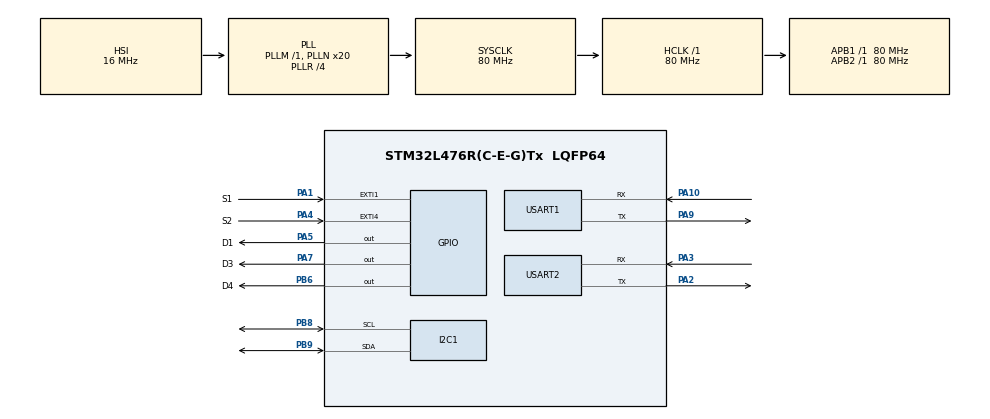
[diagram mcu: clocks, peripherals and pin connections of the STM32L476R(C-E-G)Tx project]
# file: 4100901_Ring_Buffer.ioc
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I2C1.Timing=0x10D19CE4
Mcu.Family=STM32L4
Mcu.Name=STM32L476R(C-E-G)Tx
Mcu.Package=LQFP64
NVIC.EXTI1_IRQn=true\:0\:0\:false\:false\:true\:true\:true\:true
NVIC.EXTI4_IRQn=true\:0\:0\:false\:false\:true\:true\:true\:true
NVIC.FLASH_IRQn=true\:0\:0\:false\:false\:true\:true\:true\:true
NVIC.FPU_IRQn=true\:0\:0\:false\:false\:true\:true\:false\:true
NVIC.PriorityGroup=NVIC_PRIORITYGROUP_4
NVIC.RCC_IRQn=true\:0\:0\:false\:false\:true\:true\:false\:true
NVIC.USART1_IRQn=true\:0\:0\:false\:false\:true\:true\:true\:true
NVIC.USART2_IRQn=true\:0\:0\:false\:false\:true\:true\:true\:true
PA1.GPIO_Label=S1
PA1.Signal=GPXTI1
PA10.Mode=Asynchronous
PA10.Signal=USART1_RX
PA2.Mode=Asynchronous
PA2.Signal=USART2_TX
PA3.Mode=Asynchronous
PA3.Signal=USART2_RX
PA4.GPIO_Label=S2
PA4.Signal=GPXTI4
PA5.GPIO_Label=D1
PA5.PinState=GPIO_PIN_SET
PA5.Signal=GPIO_Output
PA7.GPIO_Label=D3
PA7.PinState=GPIO_PIN_SET
PA7.Signal=GPIO_Output
PA9.Mode=Asynchronous
PA9.Signal=USART1_TX
PB6.GPIO_Label=D4
PB6.PinState=GPIO_PIN_SET
PB6.Signal=GPIO_Output
PB8.Mode=I2C
PB8.Signal=I2C1_SCL
PB9.Mode=I2C
PB9.Signal=I2C1_SDA
ProjectManager.HeapSize=0x200
ProjectManager.StackSize=0x400
ProjectManager.TargetToolchain=STM32CubeIDE
RCC.ADCFreq_Value=64000000
RCC.AHBFreq_Value=80000000
RCC.APB1Freq_Value=80000000
RCC.APB1TimFreq_Value=80000000
RCC.APB2Freq_Value=80000000
RCC.APB2TimFreq_Value=80000000
RCC.CortexFreq_Value=80000000
RCC.HCLKFreq_Value=80000000
RCC.HSE_VALUE=8000000
RCC.HSI_VALUE=16000000
RCC.LSE_VALUE=32768
RCC.MSI_VALUE=4000000
RCC.PLLN=20
RCC.PLLR=RCC_PLLR_DIV4
RCC.PLLSourceVirtual=RCC_PLLSOURCE_HSI
RCC.SYSCLKFreq_VALUE=80000000
RCC.SYSCLKSource=RCC_SYSCLKSOURCE_PLLCLK
RCC.USBFreq_Value=64000000
RCC.VCOOutputFreq_Value=320000000
USART1.VirtualMode-Asynchronous=VM_ASYNC
USART2.VirtualMode-Asynchronous=VM_ASYNC
board=custom

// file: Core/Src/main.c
/* USER CODE BEGIN Header */
/**
  ******************************************************************************
  * @file           : main.c
  * @brief          : Main program body
  ******************************************************************************
  * @attention
  *
  * Copyright (c) 2024 STMicroelectronics.
  * All rights reserved.
  *
  * This software is licensed under terms that can be found in the LICENSE file
  * in the root directory of this software component.
  * If no LICENSE file comes with this software, it is provided AS-IS.
  *
  ******************************************************************************
  */
/* USER CODE END Header */
#include "main.h"

/* USER CODE BEGIN Includes */
#include "ring_buffer.h"

#include "ssd1306.h"
#include "ssd1306_fonts.h"

/* USER CODE END Includes */

I2C_HandleTypeDef hi2c1;

UART_HandleTypeDef huart1;
UART_HandleTypeDef huart2;

/* USER CODE BEGIN PV */
uint8_t data_1;
uint8_t data_2;

ring_buffer_t rb_usart1;
ring_buffer_t rb_usart2;

uint8_t mem_usart1[10];
uint8_t mem_usart2[10];

/* USER CODE END PV */

void SystemClock_Config(void);
static void MX_GPIO_Init(void);
static void MX_USART2_UART_Init(void);
static void MX_USART1_UART_Init(void);
static void MX_I2C1_Init(void);

/* USER CODE BEGIN 0 */
void HAL_UART_RxCpltCallback(UART_HandleTypeDef *huart){
	if (huart -> Instance == USART1) {
		//HAL_UART_Transmit(&huart2, data, 1, 10);
		ring_buffer_write(&rb_usart1, data_1);
		HAL_UART_Receive_IT(&huart1, &data_1, 1);
	}

	if (huart -> Instance == USART2) {
			//HAL_UART_Transmit(&huart2, data, 1, 10);
			ring_buffer_write(&rb_usart2, data_2);
			HAL_UART_Receive_IT(&huart2, &data_2, 1);
		}

}

// CLASE 12/08/2024
void HAL_GPIO_EXTI_Callback(uint16_t GPIO_Pin) {

}

/* USER CODE END 0 */

int main(void)
{

  /* MCU Configuration--------------------------------------------------------*/

  /* Reset of all peripherals, Initializes the Flash interface and the Systick. */
  HAL_Init();

  /* Configure the system clock */
  SystemClock_Config();

  /* Initialize all configured peripherals */
  MX_GPIO_Init();
  MX_USART2_UART_Init();
  MX_USART1_UART_Init();
  MX_I2C1_Init();
  /* USER CODE BEGIN 2 */

 /* ssd1306_Init();
  ssd1306_Fill(Black);
  ssd1306_SetCursor(10, 20);
  ssd1306_WriteString("", Font_6x8, White);
  ssd1306_UpdateScreen();*/

  /* USER CODE END 2 */

  /* Infinite loop */
  /* USER CODE BEGIN WHILE */
  ring_buffer_init(&rb_usart2, mem_usart2, 10);
  ring_buffer_init(&rb_usart1, mem_usart1, 10);

  /*HAL_UART_Receive_IT(&huart, pData, Size)*/
  HAL_UART_Receive_IT(&huart1, &data_1, 1);
  HAL_UART_Receive_IT(&huart2, &data_2, 1);

  while (1)
  {
	  /*if (is_full != 0) {
		  HAL_Delay(200);
		  HAL_UART_Transmit(&huart2, 'Full\r\n', 6, 10);
	  }

		  HAL_UART_Transmit(&huart2, &byte, 1, 10);

		  //uint8_t size = head_ptr - tail_ptr;
		  //size = size + '0'; // convert to ascii
		  //HAL_UART_Transmit(&huart2, &size, 1, 10);
		  //HAL_UART_Transmit(&huart2, "\r\n", 2, 10);
	  }*/

	  if(ring_buffer_size(&rb_usart2) != 0){
		  uint8_t size = ring_buffer_size(&rb_usart2);
		  size = size+0x30;

		  if(ring_buffer_is_full(&rb_usart2)){
			  uint8_t byte = 0;

			  uint8_t data_2[10];
			  for (uint8_t i = 0; i <= 10; i++){
				  ring_buffer_read(&rb_usart2, &byte);
				  data_2[i] = byte;
				  //HAL_UART_Transmit(&huart2, &byte, 1, 10);
			  };
			  //HAL_UART_Transmit(&huart2, &size, 1, 10);

			  if(right_buffer_ID(data_2)){
					HAL_UART_Transmit(&huart1, "Isabel A.M.", 11, 10);
					ssd1306_WriteString("Maria Isabel A. Medina", Font_6x8, White);
					ssd1306_UpdateScreen();
			  }else {
					HAL_UART_Transmit(&huart1, "ERROR!!", 7, 10);
					ssd1306_WriteString("ERROR!!", Font_6x8, White);
					ssd1306_UpdateScreen();
			  }
		  }
	  }
	  //ring_buffer_reset(rb_usart2);

	  if(ring_buffer_size(&rb_usart1) != 0){
		  uint8_t size = ring_buffer_size(&rb_usart1);
		  size = size+0x30;

		  if(ring_buffer_is_full(&rb_usart1)){
			  uint8_t byte = 0;

			  uint8_t data_1[10];
			  for (uint8_t i = 0; i <= 10; i++){
				  ring_buffer_read(&rb_usart1, &byte);
				  data_1[i] = byte;
			  };

			  if(right_buffer_ID(data_1)){
					HAL_UART_Transmit(&huart2, "Isabel", 11, 10);
			  }else {
					HAL_UART_Transmit(&huart2, "ERROR!!", 7, 10);
			  }
		  }
	  }

    /* USER CODE END WHILE */

  }
}

void SystemClock_Config(void)
{
  RCC_OscInitTypeDef RCC_OscInitStruct = {0};
  RCC_ClkInitTypeDef RCC_ClkInitStruct = {0};

  /** Configure the main internal regulator output voltage
  */
  if (HAL_PWREx_ControlVoltageScaling(PWR_REGULATOR_VOLTAGE_SCALE1) != HAL_OK)
  {
    Error_Handler();
  }

  /** Initializes the RCC Oscillators according to the specified parameters
  * in the RCC_OscInitTypeDef structure.
  */
  RCC_OscInitStruct.OscillatorType = RCC_OSCILLATORTYPE_HSI;
  RCC_OscInitStruct.HSIState = RCC_HSI_ON;
  RCC_OscInitStruct.HSICalibrationValue = RCC_HSICALIBRATION_DEFAULT;
  RCC_OscInitStruct.PLL.PLLState = RCC_PLL_ON;
  RCC_OscInitStruct.PLL.PLLSource = RCC_PLLSOURCE_HSI;
  RCC_OscInitStruct.PLL.PLLM = 1;
  RCC_OscInitStruct.PLL.PLLN = 20;
  RCC_OscInitStruct.PLL.PLLP = RCC_PLLP_DIV7;
  RCC_OscInitStruct.PLL.PLLQ = RCC_PLLQ_DIV2;
  RCC_OscInitStruct.PLL.PLLR = RCC_PLLR_DIV4;
  if (HAL_RCC_OscConfig(&RCC_OscInitStruct) != HAL_OK)
  {
    Error_Handler();
  }

  /** Initializes the CPU, AHB and APB buses clocks
  */
  RCC_ClkInitStruct.ClockType = RCC_CLOCKTYPE_HCLK|RCC_CLOCKTYPE_SYSCLK
                              |RCC_CLOCKTYPE_PCLK1|RCC_CLOCKTYPE_PCLK2;
  RCC_ClkInitStruct.SYSCLKSource = RCC_SYSCLKSOURCE_PLLCLK;
  RCC_ClkInitStruct.AHBCLKDivider = RCC_SYSCLK_DIV1;
  RCC_ClkInitStruct.APB1CLKDivider = RCC_HCLK_DIV1;
  RCC_ClkInitStruct.APB2CLKDivider = RCC_HCLK_DIV1;

  if (HAL_RCC_ClockConfig(&RCC_ClkInitStruct, FLASH_LATENCY_4) != HAL_OK)
  {
    Error_Handler();
  }
}

static void MX_I2C1_Init(void)
{

  hi2c1.Instance = I2C1;
  hi2c1.Init.Timing = 0x10D19CE4;
  hi2c1.Init.OwnAddress1 = 0;
  hi2c1.Init.AddressingMode = I2C_ADDRESSINGMODE_7BIT;
  hi2c1.Init.DualAddressMode = I2C_DUALADDRESS_DISABLE;
  hi2c1.Init.OwnAddress2 = 0;
  hi2c1.Init.OwnAddress2Masks = I2C_OA2_NOMASK;
  hi2c1.Init.GeneralCallMode = I2C_GENERALCALL_DISABLE;
  hi2c1.Init.NoStretchMode = I2C_NOSTRETCH_DISABLE;
  if (HAL_I2C_Init(&hi2c1) != HAL_OK)
  {
    Error_Handler();
  }

  /** Configure Analogue filter
  */
  if (HAL_I2CEx_ConfigAnalogFilter(&hi2c1, I2C_ANALOGFILTER_ENABLE) != HAL_OK)
  {
    Error_Handler();
  }

  /** Configure Digital filter
  */
  if (HAL_I2CEx_ConfigDigitalFilter(&hi2c1, 0) != HAL_OK)
  {
    Error_Handler();
  }

}

static void MX_USART1_UART_Init(void)
{

  huart1.Instance = USART1;
  huart1.Init.BaudRate = 115200;
  huart1.Init.WordLength = UART_WORDLENGTH_8B;
  huart1.Init.StopBits = UART_STOPBITS_1;
  huart1.Init.Parity = UART_PARITY_NONE;
  huart1.Init.Mode = UART_MODE_TX_RX;
  huart1.Init.HwFlowCtl = UART_HWCONTROL_NONE;
  huart1.Init.OverSampling = UART_OVERSAMPLING_16;
  huart1.Init.OneBitSampling = UART_ONE_BIT_SAMPLE_DISABLE;
  huart1.AdvancedInit.AdvFeatureInit = UART_ADVFEATURE_NO_INIT;
  if (HAL_UART_Init(&huart1) != HAL_OK)
  {
    Error_Handler();
  }

}

static void MX_USART2_UART_Init(void)
{

  huart2.Instance = USART2;
  huart2.Init.BaudRate = 115200;
  huart2.Init.WordLength = UART_WORDLENGTH_8B;
  huart2.Init.StopBits = UART_STOPBITS_1;
  huart2.Init.Parity = UART_PARITY_NONE;
  huart2.Init.Mode = UART_MODE_TX_RX;
  huart2.Init.HwFlowCtl = UART_HWCONTROL_NONE;
  huart2.Init.OverSampling = UART_OVERSAMPLING_16;
  huart2.Init.OneBitSampling = UART_ONE_BIT_SAMPLE_DISABLE;
  huart2.AdvancedInit.AdvFeatureInit = UART_ADVFEATURE_NO_INIT;
  if (HAL_UART_Init(&huart2) != HAL_OK)
  {
    Error_Handler();
  }

}

static void MX_GPIO_Init(void)
{
  GPIO_InitTypeDef GPIO_InitStruct = {0};

  /* GPIO Ports Clock Enable */
  __HAL_RCC_GPIOA_CLK_ENABLE();
  __HAL_RCC_GPIOB_CLK_ENABLE();

  /*Configure GPIO pin Output Level */
  HAL_GPIO_WritePin(GPIOA, D1_Pin|D3_Pin, GPIO_PIN_SET);

  /*Configure GPIO pin Output Level */
  HAL_GPIO_WritePin(D4_GPIO_Port, D4_Pin, GPIO_PIN_SET);

  /*Configure GPIO pins : S1_Pin S2_Pin */
  GPIO_InitStruct.Pin = S1_Pin|S2_Pin;
  GPIO_InitStruct.Mode = GPIO_MODE_IT_RISING;
  GPIO_InitStruct.Pull = GPIO_NOPULL;
  HAL_GPIO_Init(GPIOA, &GPIO_InitStruct);

  /*Configure GPIO pins : D1_Pin D3_Pin */
  GPIO_InitStruct.Pin = D1_Pin|D3_Pin;
  GPIO_InitStruct.Mode = GPIO_MODE_OUTPUT_PP;
  GPIO_InitStruct.Pull = GPIO_NOPULL;
  GPIO_InitStruct.Speed = GPIO_SPEED_FREQ_LOW;
  HAL_GPIO_Init(GPIOA, &GPIO_InitStruct);

  /*Configure GPIO pin : D4_Pin */
  GPIO_InitStruct.Pin = D4_Pin;
  GPIO_InitStruct.Mode = GPIO_MODE_OUTPUT_PP;
  GPIO_InitStruct.Pull = GPIO_NOPULL;
  GPIO_InitStruct.Speed = GPIO_SPEED_FREQ_LOW;
  HAL_GPIO_Init(D4_GPIO_Port, &GPIO_InitStruct);

  /* EXTI interrupt init*/
  HAL_NVIC_SetPriority(EXTI1_IRQn, 0, 0);
  HAL_NVIC_EnableIRQ(EXTI1_IRQn);

  HAL_NVIC_SetPriority(EXTI4_IRQn, 0, 0);
  HAL_NVIC_EnableIRQ(EXTI4_IRQn);

}

void Error_Handler(void)
{
  __disable_irq();
  while (1)
  {
  }
}
